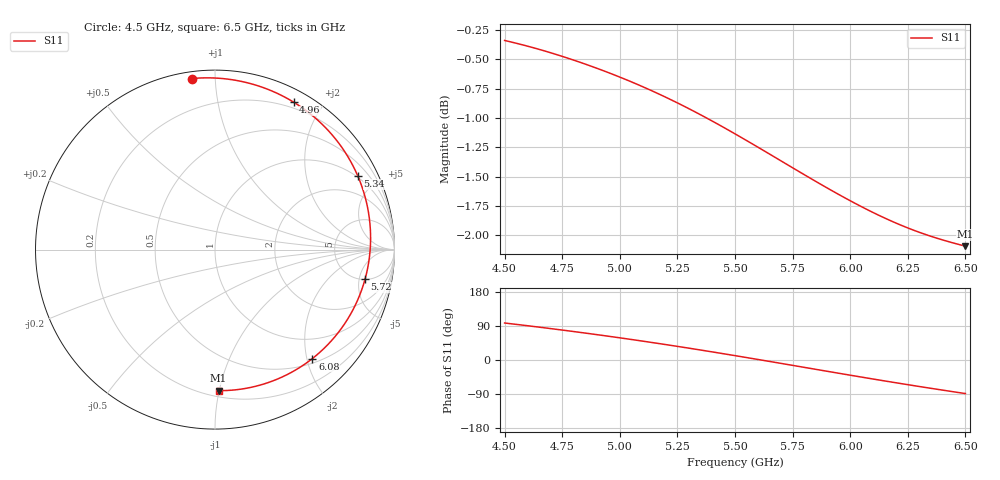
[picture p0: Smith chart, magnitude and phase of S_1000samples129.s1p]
! TOUCHSTONE file generated by CST MICROWAVE STUDIO
! Date and time: Thu Oct 27 02:28:05 2022
! Project name: L.cst
! Parameters = {Di=1.27; Epsilon_r=1.56; InnerDiameter=1.27; Length=2; Lf=10; Lg=60; OuterConductorThickness=0.2921; OuterDiameter=3.6; Wf=3; Wp=41.2; de=1.5; df=6.8; g=0.8; gx=4.53732; gy=4.38772; h=2.34; hf=1.524; px=11.8988; py=10.9851; w=9.7; wx=7.36147; wy=6.59735}
! Header version: 2018
! Port assignment regex: !\s*Touchstone port\s*([0-9]+)\s*=\s*(CST MWS port|CST DS port)\s*([0-9]+|Zmin|Zmax)\s*\(\"(.*)\"\)(\s*mode\s*([0-9]+))?.*
! Touchstone port assignment:
! Touchstone port 1 = CST MWS port 1 ("")
# GHz S DB R 50
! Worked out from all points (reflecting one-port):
!   101 points, 4.5 GHz to 6.5 GHz, reference 50 ohm
!   lowest |S11| = -2.1 dB at 6.5 GHz (marker M1), VSWR 8.35, Z = 12.1 - j49.8 ohm
!   phase of S11 starts at 98 deg and turns -186 deg over the sweep
!   S11 on the Smith chart (normalised r, x): 4.5 GHz: 0.03, +0.87; 4.96 GHz: 0.13, +1.66; 5.34 GHz: 0.94, +3.90; 5.72 GHz: 5.13, -6.11; 6.08 GHz: 0.58, -2.10; 6.5 GHz: 0.24, -1.00
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4.5  -0.34 97.6
4.58  -0.38 91.9
4.64  -0.41 87.4
4.76  -0.48 78.2
4.86  -0.55 70.2
4.96  -0.62 61.9
5  -0.65 58.5
5.06  -0.70 53.3
5.12  -0.75 47.9
5.18  -0.81 42.5
5.26  -0.88 35.0
5.34  -0.96 27.3
5.42  -1.05 19.5
5.5  -1.13 11.5
5.6  -1.25 1.3
5.66  -1.32 -4.8
5.72  -1.39 -11.0
5.76  -1.44 -15.2
5.82  -1.51 -21.4
5.88  -1.57 -27.7
6  -1.70 -40.1
6.08  -1.79 -48.2
6.16  -1.86 -56.3
6.26  -1.94 -66.1
6.32  -1.99 -71.9
6.38  -2.03 -77.5
6.44  -2.06 -83.1
6.5  -2.09 -88.6
